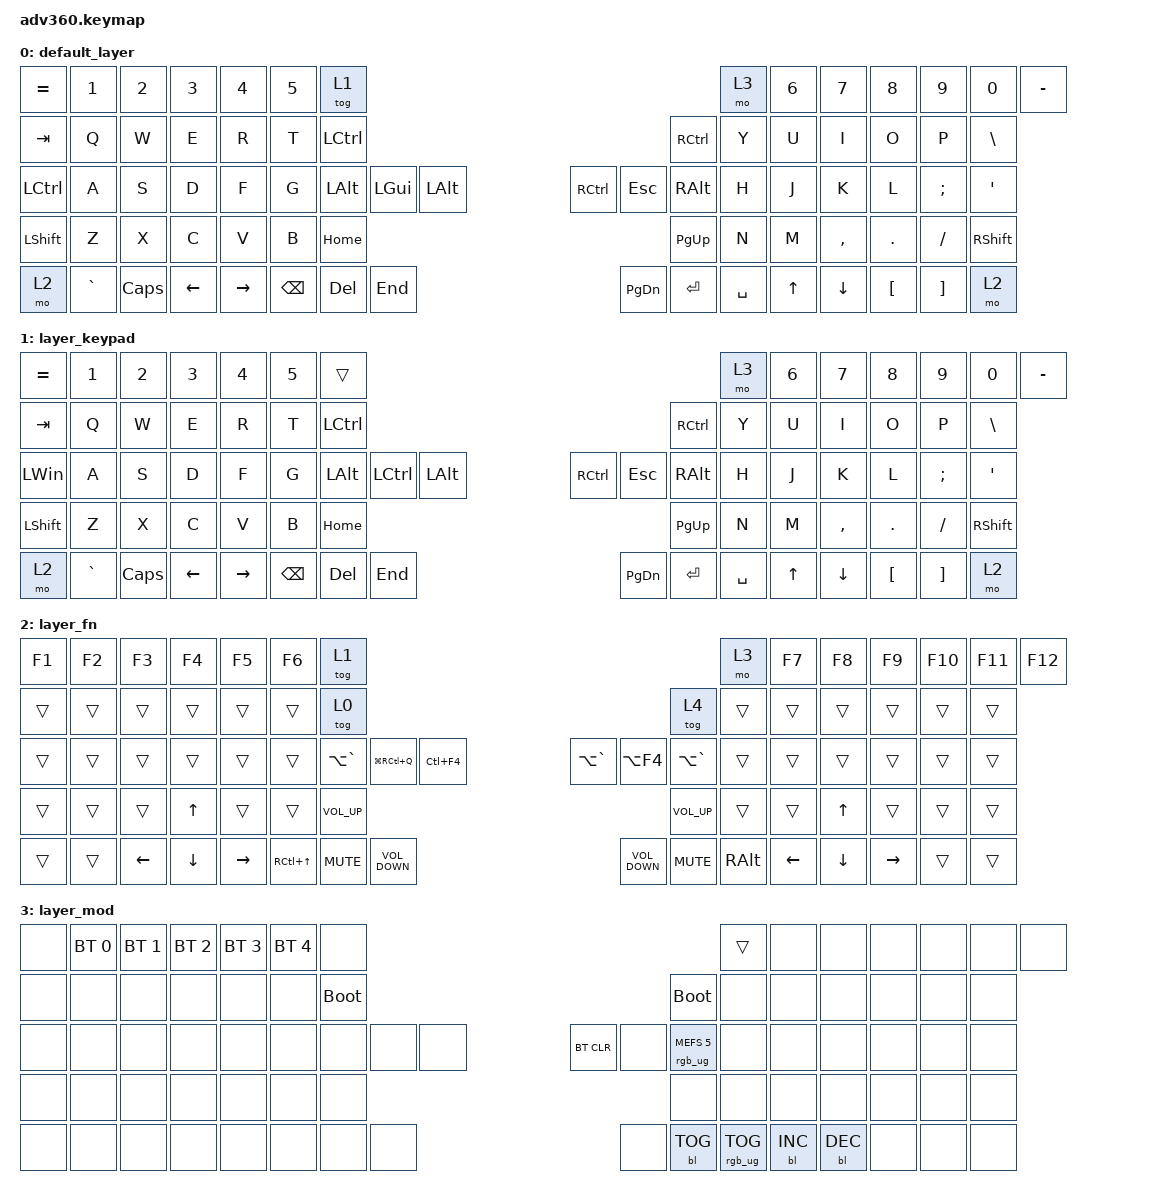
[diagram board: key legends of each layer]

/*
 * Copyright (c) 2020 The ZMK Contributors
 *
 * SPDX-License-Identifier: MIT
 */


/* THIS FILE WAS GENERATED!
 *
 * This file was generated automatically. You may or may not want to
 * edit it directly.
 */

#include <behaviors.dtsi>
#include <dt-bindings/zmk/keys.h>
#include <dt-bindings/zmk/bt.h>
#include <dt-bindings/zmk/rgb.h>
#include <dt-bindings/zmk/backlight.h>

/ {
  behaviors {
    #include "macros.dtsi"

    hm: homerow_mods {
        compatible = "zmk,behavior-hold-tap";
        label = "HOMEROW_MODS";
        #binding-cells = <2>;
        tapping-term-ms = <200>;
        quick_tap_ms = <175>;
        flavor = "tap-preferred";
        bindings = <&kp>, <&kp>;
    };
  };

    keymap {
        compatible = "zmk,keymap";


        default_layer {
            bindings = <
 &kp EQUAL     &kp N1    &kp N2    &kp N3     &kp N4  &kp N5                      &tog 1                                                                        &mo 3  &kp N6  &kp N7     &kp N8    &kp N9    &kp N0  &kp MINUS
   &kp TAB      &kp Q     &kp W     &kp E      &kp R   &kp T            &kp LEFT_CONTROL                                                            &kp RIGHT_CONTROL   &kp Y   &kp U      &kp I     &kp O     &kp P   &kp BSLH
 &kp LCTRL      &kp A     &kp S     &kp D      &kp F   &kp G                &kp LEFT_ALT  &kp LGUI  &kp LALT                  &kp RCTRL    &kp ESC      &kp RIGHT_ALT   &kp H   &kp J      &kp K     &kp L  &kp SEMI    &kp SQT
 &kp LSHFT      &kp Z     &kp X     &kp C      &kp V   &kp B                                        &kp HOME                  &kp PG_UP                                 &kp N   &kp M  &kp COMMA   &kp DOT  &kp FSLH  &kp RSHFT
     &mo 2  &kp GRAVE  &kp CAPS  &kp LEFT  &kp RIGHT                            &kp BSPC   &kp DEL   &kp END                  &kp PG_DN  &kp ENTER          &kp SPACE          &kp UP   &kp DOWN  &kp LBKT  &kp RBKT      &mo 2
            >;
        };

        layer_keypad {
            bindings = <
    &kp EQUAL     &kp N1    &kp N2    &kp N3     &kp N4  &kp N5                      &trans                                                                                 &mo 3  &kp N6  &kp NUMBER_7  &kp NUMBER_8  &kp NUMBER_9  &kp NUMBER_0  &kp MINUS
      &kp TAB      &kp Q     &kp W     &kp E      &kp R   &kp T            &kp LEFT_CONTROL                                                                     &kp RIGHT_CONTROL   &kp Y         &kp U         &kp I         &kp O         &kp P   &kp BSLH
 &kp LEFT_WIN      &kp A     &kp S     &kp D      &kp F   &kp G                &kp LEFT_ALT  &kp LCTRL  &kp LALT                  &kp RIGHT_CONTROL    &kp ESC      &kp RIGHT_ALT   &kp H         &kp J         &kp K         &kp L      &kp SEMI    &kp SQT
    &kp LSHFT      &kp Z     &kp X     &kp C      &kp V   &kp B                                         &kp HOME                          &kp PG_UP                                 &kp N         &kp M     &kp COMMA       &kp DOT      &kp FSLH  &kp RSHFT
        &mo 2  &kp GRAVE  &kp CAPS  &kp LEFT  &kp RIGHT                            &kp BSPC    &kp DEL   &kp END                          &kp PG_DN  &kp ENTER          &kp SPACE                &kp UP      &kp DOWN      &kp LBKT      &kp RBKT      &mo 2
            >;
        };

        layer_fn {
            bindings = <
 &kp F1  &kp F2    &kp F3    &kp F4     &kp F5  &kp F6                   &tog 1                                                                                           &mo 3  &kp F7    &kp F8    &kp F9    &kp F10  &kp F11  &kp F12
 &trans  &trans    &trans    &trans     &trans  &trans                   &tog 0                                                                                          &tog 4  &trans    &trans    &trans     &trans   &trans   &trans
 &trans  &trans    &trans    &trans     &trans  &trans            &kp LA(GRAVE)  &kp LG(RC(Q))         &kp LC(F4)                      &kp LA(GRAVE)  &kp LA(F4)  &kp LA(GRAVE)  &trans    &trans    &trans     &trans   &trans   &trans
 &trans  &trans    &trans    &kp UP     &trans  &trans                                            &kp C_VOLUME_UP                    &kp C_VOLUME_UP                             &trans    &trans    &kp UP     &trans   &trans   &trans
 &trans  &trans  &kp LEFT  &kp DOWN  &kp RIGHT                       &kp RC(UP)     &kp C_MUTE  &kp C_VOLUME_DOWN                  &kp C_VOLUME_DOWN  &kp C_MUTE  &kp RIGHT_ALT          &kp LEFT  &kp DOWN  &kp RIGHT   &trans   &trans
            >;
        };

        layer_mod {
            bindings = <
  &none  &bt BT_SEL 0  &bt BT_SEL 1  &bt BT_SEL 2  &bt BT_SEL 3  &bt BT_SEL 4                  &none                                                                          &trans   &none       &none       &none   &none   &none   &none
  &none         &none         &none         &none         &none         &none            &bootloader                                                                     &bootloader   &none       &none       &none   &none   &none   &none
  &none         &none         &none         &none         &none         &none                  &none   &none   &none                  &bt BT_CLR       &none  &rgb_ug RGB_MEFS_CMD 5   &none       &none       &none   &none   &none   &none
  &none         &none         &none         &none         &none         &none                                  &none                       &none                                       &none       &none       &none   &none   &none   &none
  &none         &none         &none         &none         &none                                &none   &none   &none                       &none  &bl BL_TOG         &rgb_ug RGB_TOG          &bl BL_INC  &bl BL_DEC   &none   &none   &none
            >;
        };

    };
};
